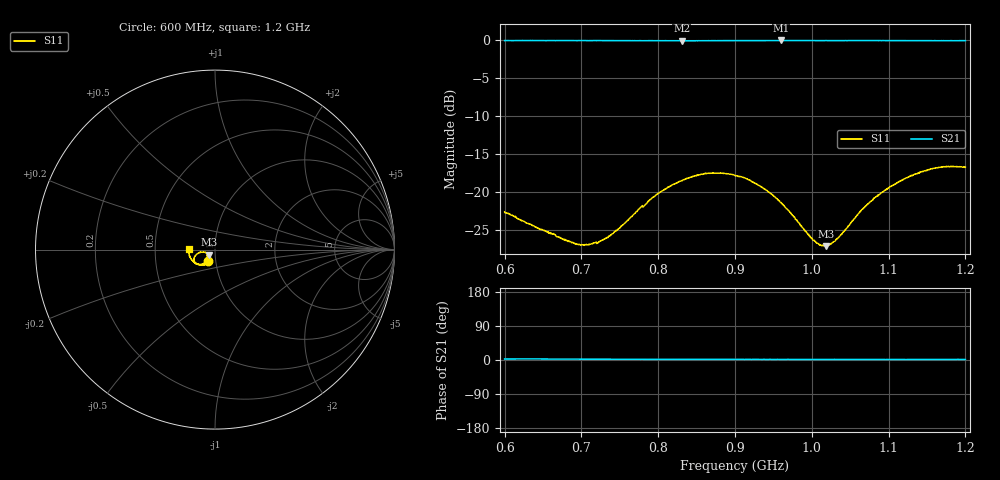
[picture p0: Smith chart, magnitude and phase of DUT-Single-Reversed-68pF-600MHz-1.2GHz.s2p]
# HZ S RI R 50
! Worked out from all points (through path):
!   1010 points, 600 MHz to 1.2 GHz, reference 50 ohm
!   highest |S21| = -0.03 dB at 959.8 MHz (marker M1); lowest = -0.1 dB at 830.7 MHz (marker M2)
!   lowest |S11| = -27.2 dB at 1.018 GHz (marker M3), VSWR 1.09, Z = 46.7 - j2.72 ohm
!   |S11| at or under -10 dB: start of sweep to end of sweep
!   S12 and S22 are empty: the file has one direction only
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6e8  -0.0416 -0.0608  0.9937 0.0469  0 0  0 0
6.773042e8  -0.0409 -0.0261  0.9946 0.0409  0 0  0 0
7.004955e8  -0.0367 -0.0259  0.9944 0.0389  0 0  0 0
7.201189e8  -0.0338 -0.0307  0.9944 0.036  0 0  0 0
7.343904e8  -0.0337 -0.0369  0.994 0.0347  0 0  0 0
8.003964e8  -0.0612 -0.0765  0.9929 0.0296  0 0  0 0
8.307234e8  -0.0847 -0.0835  0.9911 0.0295  0 0  0 0
8.634291e8  -0.1077 -0.0771  0.9923 0.0272  0 0  0 0
9.002972e8  -0.1151 -0.0548  0.9945 0.029  0 0  0 0
9.133795e8  -0.1155 -0.0428  0.9947 0.0291  0 0  0 0
9.300296e8  -0.1064 -0.0301  0.9953 0.0272  0 0  0 0
9.59762e8  -0.0836 -0.016  0.9965 0.0258  0 0  0 0
1.000198e9  -0.0453 -0.0192  0.9951 0.0265  0 0  0 0
1.009118e9  -0.0386 -0.0238  0.9939 0.026  0 0  0 0
1.018038e9  -0.0328 -0.0291  0.9954 0.027  0 0  0 0
1.032309e9  -0.0276 -0.0402  0.996 0.0214  0 0  0 0
1.066799e9  -0.0327 -0.0706  0.9938 0.0253  0 0  0 0
1.100099e9  -0.0627 -0.0862  0.9942 0.024  0 0  0 0
1.126263e9  -0.0953 -0.0811  0.9941 0.025  0 0  0 0
1.154807e9  -0.1288 -0.0575  0.9919 0.0239  0 0  0 0
1.173241e9  -0.142 -0.0352  0.9926 0.0278  0 0  0 0
1.2e9  -0.1454 0.0018  0.9927 0.0243  0 0  0 0
